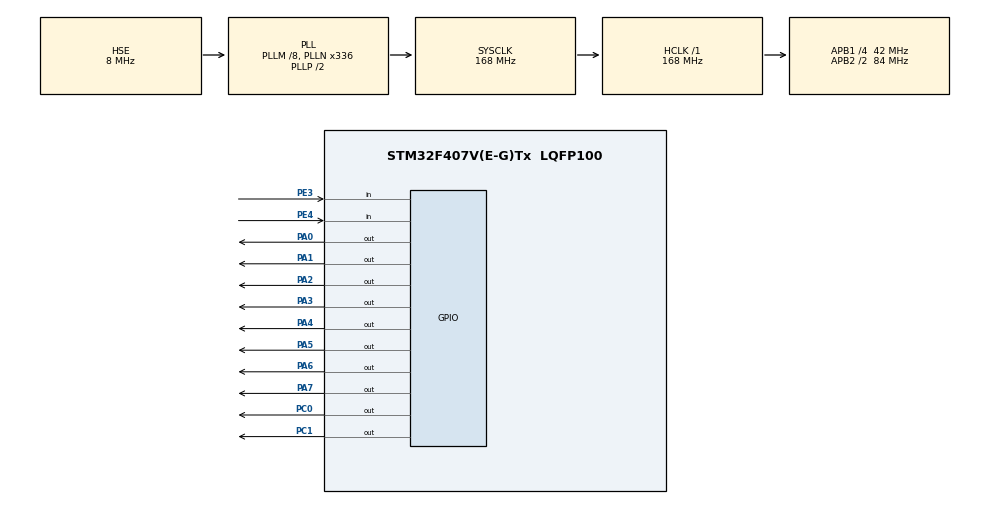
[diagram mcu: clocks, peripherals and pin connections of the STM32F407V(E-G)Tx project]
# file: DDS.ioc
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Mcu.Family=STM32F4
Mcu.Name=STM32F407V(E-G)Tx
Mcu.Package=LQFP100
NVIC.PriorityGroup=NVIC_PRIORITYGROUP_4
PA0.Signal=GPIO_Output
PA1.Signal=GPIO_Output
PA13.Mode=Serial_Wire
PA13.Signal=SYS_JTMS-SWDIO
PA14.Mode=Serial_Wire
PA14.Signal=SYS_JTCK-SWCLK
PA2.Signal=GPIO_Output
PA3.Signal=GPIO_Output
PA4.Signal=GPIO_Output
PA5.Signal=GPIO_Output
PA6.Signal=GPIO_Output
PA7.Signal=GPIO_Output
PC0.Signal=GPIO_Output
PC1.Signal=GPIO_Output
PE3.GPIO_PuPd=GPIO_PULLUP
PE3.Signal=GPIO_Input
PE4.GPIO_PuPd=GPIO_PULLUP
PE4.Signal=GPIO_Input
PH0-OSC_IN.Mode=HSE-External-Oscillator
PH0-OSC_IN.Signal=RCC_OSC_IN
PH1-OSC_OUT.Mode=HSE-External-Oscillator
PH1-OSC_OUT.Signal=RCC_OSC_OUT
ProjectManager.HeapSize=0x200
ProjectManager.StackSize=0x400
ProjectManager.TargetToolchain=CMake
RCC.48MHZClocksFreq_Value=84000000
RCC.AHBFreq_Value=168000000
RCC.APB1CLKDivider=RCC_HCLK_DIV4
RCC.APB1Freq_Value=42000000
RCC.APB1TimFreq_Value=84000000
RCC.APB2CLKDivider=RCC_HCLK_DIV2
RCC.APB2Freq_Value=84000000
RCC.APB2TimFreq_Value=168000000
RCC.CortexFreq_Value=168000000
RCC.HCLKFreq_Value=168000000
RCC.HSE_VALUE=8000000
RCC.HSI_VALUE=16000000
RCC.LSE_VALUE=32768
RCC.PLLM=8
RCC.PLLN=336
RCC.PLLSourceVirtual=RCC_PLLSOURCE_HSE
RCC.SYSCLKFreq_VALUE=168000000
RCC.SYSCLKSource=RCC_SYSCLKSOURCE_PLLCLK
RCC.VCOOutputFreq_Value=336000000
board=custom

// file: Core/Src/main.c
/* USER CODE BEGIN Header */
/**
  ******************************************************************************
  * @file           : main.c
  * @brief          : Main program body
  ******************************************************************************
  * @attention
  *
  * Copyright (c) 2026 STMicroelectronics.
  * All rights reserved.
  *
  * This software is licensed under terms that can be found in the LICENSE file
  * in the root directory of this software component.
  * If no LICENSE file comes with this software, it is provided AS-IS.
  *
  ******************************************************************************
  */
/* USER CODE END Header */
#include "main.h"
#include "gpio.h"

/* USER CODE BEGIN Includes */
#include "ad9854.h"
#include "ad9102.h"
#include "stm_adc.h"
#include "stm_spi_link.h"
#include <stdint.h>
/* USER CODE END Includes */

/* USER CODE BEGIN PV */

static uint8_t last_k0 = 1;
static uint8_t last_k1 = 1;
static uint32_t current_freq_hz = AD9854_DEFAULT_FREQ_HZ;

/* USER CODE END PV */

void SystemClock_Config(void);

/* USER CODE BEGIN 0 */

static void status_led_on(void)
{
    HAL_GPIO_WritePin(GPIOA, GPIO_PIN_7, GPIO_PIN_RESET);
}

static void status_led_off(void)
{
    HAL_GPIO_WritePin(GPIOA, GPIO_PIN_7, GPIO_PIN_SET);
}

static uint32_t clamp_freq(uint32_t freq_hz)
{
    if (freq_hz < STM_SPI_FREQ_MIN_HZ)
    {
        return STM_SPI_FREQ_MIN_HZ;
    }
    if (freq_hz > STM_SPI_FREQ_MAX_HZ)
    {
        return STM_SPI_FREQ_MAX_HZ;
    }
    return freq_hz;
}

static void startup_blink(void)
{
    for (int i = 0; i < 3; i++)
    {
        status_led_on();
        HAL_Delay(120);
        status_led_off();
        HAL_Delay(120);
    }
}

static void ad9854_start_default(void)
{
    current_freq_hz = AD9854_DEFAULT_FREQ_HZ;
    AD9854_SetSine(current_freq_hz, AD9854_FULL_SCALE_AMP);
    STM_SPI_Link_SetCurrentFreq(current_freq_hz);
    status_led_on();
}

static void ad9854_apply_frequency(uint32_t freq_hz)
{
    current_freq_hz = clamp_freq(freq_hz);
    AD9854_SetSine(current_freq_hz, AD9854_FULL_SCALE_AMP);
    STM_SPI_Link_SetCurrentFreq(current_freq_hz);
    status_led_on();
}

static void key_feedback_blink(void)
{
    status_led_off();
    HAL_Delay(80);
    status_led_on();
}

static void scan_keys(void)
{
    uint8_t k0 = HAL_GPIO_ReadPin(GPIOE, GPIO_PIN_4);  // K0, pressed = 0
    uint8_t k1 = HAL_GPIO_ReadPin(GPIOE, GPIO_PIN_3);  // K1, pressed = 0

    // K0: -1 MHz local test, amplitude remains full scale.
    if (last_k0 == 1 && k0 == 0)
    {
        HAL_Delay(20);

        if (HAL_GPIO_ReadPin(GPIOE, GPIO_PIN_4) == GPIO_PIN_RESET)
        {
            ad9854_apply_frequency(current_freq_hz - 1000000UL);
            key_feedback_blink();
        }
    }

    // K1: +1 MHz local test, amplitude remains full scale.
    if (last_k1 == 1 && k1 == 0)
    {
        HAL_Delay(20);

        if (HAL_GPIO_ReadPin(GPIOE, GPIO_PIN_3) == GPIO_PIN_RESET)
        {
            ad9854_apply_frequency(current_freq_hz + 1000000UL);
            key_feedback_blink();
        }
    }

    last_k0 = k0;
    last_k1 = k1;
}

/* USER CODE END 0 */

int main(void)
{

  /* MCU Configuration--------------------------------------------------------*/

  /* Reset of all peripherals, Initializes the Flash interface and the Systick. */
  HAL_Init();

  /* Configure the system clock */
  SystemClock_Config();

  /* Initialize all configured peripherals */
  MX_GPIO_Init();

  /* USER CODE BEGIN 2 */

  startup_blink();
  /* On-board MIC ADC/DMA/TIM3 disabled; external modules drive the call path. */
  AD9854_IO_Init();
  AD9102_IO_Init();
  HAL_Delay(500);
  AD9854_InitSingle();
  ad9854_start_default();
  (void)AD9102_Init();
  STM_SPI_Link_Init(current_freq_hz);

  /* USER CODE END 2 */

  /* Infinite loop */
  while (1)
  {

    /* USER CODE BEGIN 3 */

    uint32_t spi_freq_hz = 0;
    if (STM_SPI_Link_Poll(&spi_freq_hz))
    {
        ad9854_apply_frequency(spi_freq_hz);
        key_feedback_blink();
    }
    scan_keys();

    /* USER CODE END 3 */
  }
  /* USER CODE END 3 */
}

void SystemClock_Config(void)
{
  RCC_OscInitTypeDef RCC_OscInitStruct = {0};
  RCC_ClkInitTypeDef RCC_ClkInitStruct = {0};

  /** Configure the main internal regulator output voltage
  */
  __HAL_RCC_PWR_CLK_ENABLE();
  __HAL_PWR_VOLTAGESCALING_CONFIG(PWR_REGULATOR_VOLTAGE_SCALE1);

  /** Initializes the RCC Oscillators according to the specified parameters
  * in the RCC_OscInitTypeDef structure.
  */
  RCC_OscInitStruct.OscillatorType = RCC_OSCILLATORTYPE_HSE;
  RCC_OscInitStruct.HSEState = RCC_HSE_ON;
  RCC_OscInitStruct.PLL.PLLState = RCC_PLL_ON;
  RCC_OscInitStruct.PLL.PLLSource = RCC_PLLSOURCE_HSE;
  RCC_OscInitStruct.PLL.PLLM = 8;
  RCC_OscInitStruct.PLL.PLLN = 336;
  RCC_OscInitStruct.PLL.PLLP = RCC_PLLP_DIV2;
  RCC_OscInitStruct.PLL.PLLQ = 4;

  if (HAL_RCC_OscConfig(&RCC_OscInitStruct) != HAL_OK)
  {
    Error_Handler();
  }

  /** Initializes the CPU, AHB and APB buses clocks
  */
  RCC_ClkInitStruct.ClockType = RCC_CLOCKTYPE_HCLK | RCC_CLOCKTYPE_SYSCLK
                              | RCC_CLOCKTYPE_PCLK1 | RCC_CLOCKTYPE_PCLK2;
  RCC_ClkInitStruct.SYSCLKSource = RCC_SYSCLKSOURCE_PLLCLK;
  RCC_ClkInitStruct.AHBCLKDivider = RCC_SYSCLK_DIV1;
  RCC_ClkInitStruct.APB1CLKDivider = RCC_HCLK_DIV4;
  RCC_ClkInitStruct.APB2CLKDivider = RCC_HCLK_DIV2;

  if (HAL_RCC_ClockConfig(&RCC_ClkInitStruct, FLASH_LATENCY_5) != HAL_OK)
  {
    Error_Handler();
  }
}

void Error_Handler(void)
{
  /* USER CODE BEGIN Error_Handler_Debug */

  while (1)
  {
    // Fast PA7 (status LED) blink means code entered Error_Handler.
    HAL_GPIO_TogglePin(GPIOA, GPIO_PIN_7);

    for (volatile uint32_t i = 0; i < 800000; i++)
    {
    }
  }

  /* USER CODE END Error_Handler_Debug */
}
